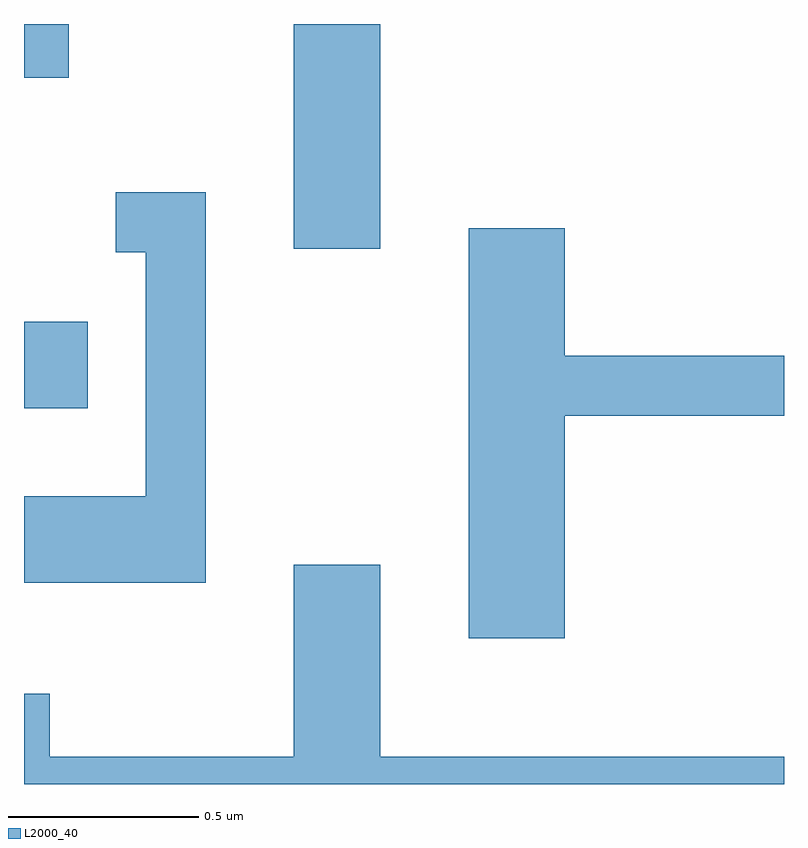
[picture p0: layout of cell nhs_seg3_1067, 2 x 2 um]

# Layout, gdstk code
import gdstk
lib = gdstk.Library(unit=1e-6, precision=1e-09)
def R(c, l, rs):  # rectangles x0, y0, x1, y1
    for r in rs: c.add(gdstk.rectangle(r[:2], r[2:], *l))
def P(c, l, *ps):  # polygons
    for p in ps: c.add(gdstk.Polygon(p, *l))
L2000_40 = (2000, 40)

nhs_seg3_1067 = lib.new_cell('nhs_seg3_1067')
R(nhs_seg3_1067, L2000_40, [(192.611,1224.881,192.779,1225.109), (193.321,1225.301,193.549,1225.892), (192.611,1225.751,192.729,1225.892)])
P(nhs_seg3_1067, L2000_40, [(193.089,1225.449),(192.853,1225.449),(192.853,1225.291),(192.931,1225.291),(192.931,1224.649),(192.611,1224.649),(192.611,1224.421),(193.089,1224.421)],
  [(194.034,1224.861),(194.611,1224.861),(194.611,1225.019),(194.034,1225.019),(194.034,1225.354),(193.781,1225.354),(193.781,1224.276),(194.034,1224.276)],
  [(194.611,1223.964),(193.549,1223.964),(193.549,1224.469),(193.321,1224.469),(193.321,1223.964),(192.679,1223.964),(192.679,1224.129),(192.611,1224.129),(192.611,1223.892),(194.611,1223.892)])

lib.write_gds('nhs_seg3_1067.gds')
